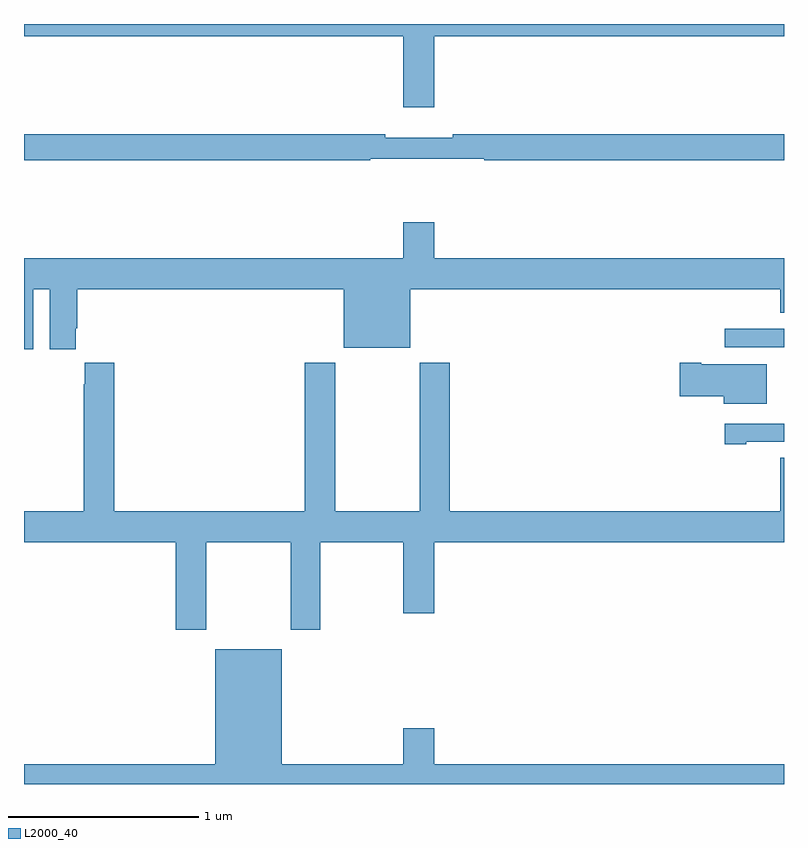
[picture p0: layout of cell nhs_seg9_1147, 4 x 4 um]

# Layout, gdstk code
import gdstk
lib = gdstk.Library(unit=1e-6, precision=1e-09)
def R(c, l, rs):  # rectangles x0, y0, x1, y1
    for r in rs: c.add(gdstk.rectangle(r[:2], r[2:], *l))
def P(c, l, *ps):  # polygons
    for p in ps: c.add(gdstk.Polygon(p, *l))
L2000_40 = (2000, 40)

nhs_seg9_1147 = lib.new_cell('nhs_seg9_1147')
R(nhs_seg9_1147, L2000_40, [(178.689,1178.799,179,1178.895)])
P(nhs_seg9_1147, L2000_40, [(177.16,1180.436),(179,1180.436),(179,1180.5),(175,1180.5),(175,1180.436),(176.996,1180.436),(176.996,1180.062),(177.16,1180.062)],
  [(176.822,1179.792),(177.422,1179.792),(177.422,1179.784),(179,1179.784),(179,1179.92),(177.256,1179.92),(177.256,1179.901),(176.9,1179.901),(176.9,1179.92),(175,1179.92),(175,1179.784),(176.822,1179.784)],
  [(177.16,1179.457),(176.996,1179.457),(176.996,1179.268),(175,1179.268),(175,1178.787),(175.048,1178.787),(175.048,1179.104),(175.136,1179.104),(175.136,1178.787),(175.273,1178.787),(175.273,1178.899),(175.28,1178.899),(175.28,1179.104),(176.684,1179.104),(176.684,1178.795),(177.034,1178.795),(177.034,1179.104),(178.979,1179.104),(178.979,1178.98),(179,1178.98),(179,1179.268),(177.16,1179.268)],
  [(178.909,1178.71),(178.564,1178.71),(178.564,1178.718),(178.452,1178.718),(178.452,1178.54),(178.682,1178.54),(178.682,1178.501),(178.909,1178.501)],
  [(175.959,1177.772),(176.404,1177.772),(176.404,1177.311),(176.559,1177.311),(176.559,1177.772),(176.996,1177.772),(176.996,1177.398),(177.16,1177.398),(177.16,1177.772),(179,1177.772),(179,1178.216),(178.979,1178.216),(178.979,1177.936),(177.242,1177.936),(177.242,1178.716),(177.082,1178.716),(177.082,1177.936),(176.637,1177.936),(176.637,1178.716),(176.477,1178.716),(176.477,1177.936),(175.475,1177.936),(175.475,1178.716),(175.319,1178.716),(175.319,1178.603),(175.315,1178.603),(175.315,1177.936),(175,1177.936),(175,1177.772),(175.799,1177.772),(175.799,1177.311),(175.959,1177.311)],
  [(178.801,1178.301),(179,1178.301),(179,1178.397),(178.689,1178.397),(178.689,1178.289),(178.801,1178.289)],
  [(179,1176.604),(177.16,1176.604),(177.16,1176.793),(176.996,1176.793),(176.996,1176.604),(176.356,1176.604),(176.356,1177.21),(176.006,1177.21),(176.006,1176.604),(175,1176.604),(175,1176.5),(179,1176.5)])

lib.write_gds('nhs_seg9_1147.gds')
